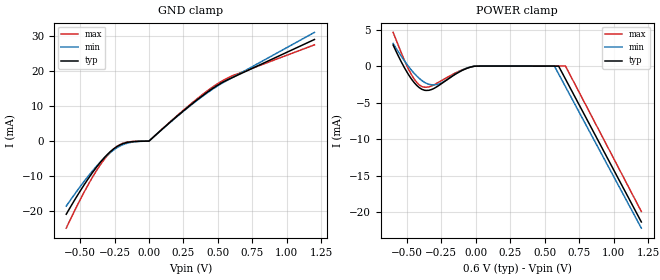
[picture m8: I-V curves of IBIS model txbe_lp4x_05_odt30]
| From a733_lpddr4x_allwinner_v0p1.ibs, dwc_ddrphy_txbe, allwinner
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[Model] txbe_lp4x_05_odt30
Model_type   Input
Polarity   Non-Inverting
Enable   Active-High
C_comp   914.329fF   910.502fF   914.547fF
C_comp_pullup   272.772fF   269.134fF   273.290fF
C_comp_pulldown 466.120fF   465.091fF   480.777fF
Vinh = 360.000mV
Vinl = 307.000mV
[Model Spec]
D_overshoot_ampl_h 0.1 NA   NA
D_overshoot_ampl_l 0.1 NA   NA
D_overshoot_area_l 300.000m NA   NA
D_overshoot_area_h 300.000m NA   NA
[Receiver Thresholds]
Vth = 163.000mV
Vth_min = 143.000mV
Vth_max = 150.000mV
Vinh_ac = 60.000mV
Vinh_dc = 60.000mV
Vinl_ac = -60.000mV
Vinl_dc = -60.000mV
Tslew_ac = 5.000ns
Threshold_sensitivity = 0.5
Reference_supply Power_clamp_ref
[Temperature Range]   25.000   125.000   -40.000
[Voltage Range]   600.000mV   570.000mV   650.000mV
[GND Clamp Reference]   0.00V   0.00V   0.00V
[C Comp Corner]
| variable   typ   min   max
C_comp 910.502fF   914.547fF   914.329fF
C_comp_pullup 272.772fF   273.290fF   269.134fF
C_comp_pulldown 466.120fF   480.777fF   465.091fF
[POWER Clamp Reference]   600.000mV   570.000mV   650.000mV
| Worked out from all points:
|   GND clamp passes 1 mA (typ) near -0.21 V on its own axis
|   POWER clamp passes 1 mA (typ) near -0.14 V on its own axis
[GND Clamp]
-600mV    -20.78mA   -18.48mA   -24.73mA
-480mV    -13.03mA   -11.95mA   -15.22mA
-390mV    -7.9mA     -7.565mA   -8.984mA
-320mV    -4.542mA   -4.642mA   -4.981mA
-240mV    -1.741mA   -2.08mA    -1.731mA
-190mV    -728.1uA   -1.025mA   -625.9uA
-150mV    -312.6uA   -507.7uA   -236.7uA
0V        0A         0A         0A
310mV     10.53mA    10.39mA    10.78mA
530mV     16.63mA    16.45mA    17.1mA
610mV     18.15mA    18.16mA    18.66mA
1.2V      28.89mA    30.91mA    27.37mA
[Power Clamp]
-600mV    2.89mA     3.11mA     4.62mA
-470mV    -1.694mA   -492uA     -1.076mA
-430mV    -2.626mA   -1.338mA   -2.204mA
-390mV    -3.198mA   -2.004mA   -2.822mA
-340mV    -3.318mA   -2.504mA   -2.852mA
-280mV    -2.796mA   -2.518mA   -2.324mA
-130mV    -906uA     -878uA     -784uA
-20mV     -54uA      -42uA      -56uA
570mV     -1.516uA   -12.82uA   -267.7nA
600mV     -1.612uA   -1.07mA    -285.4nA
650mV     -1.782mA   -2.832mA   -315.1nA
1.2V      -21.37mA   -22.21mA   -19.94mA
